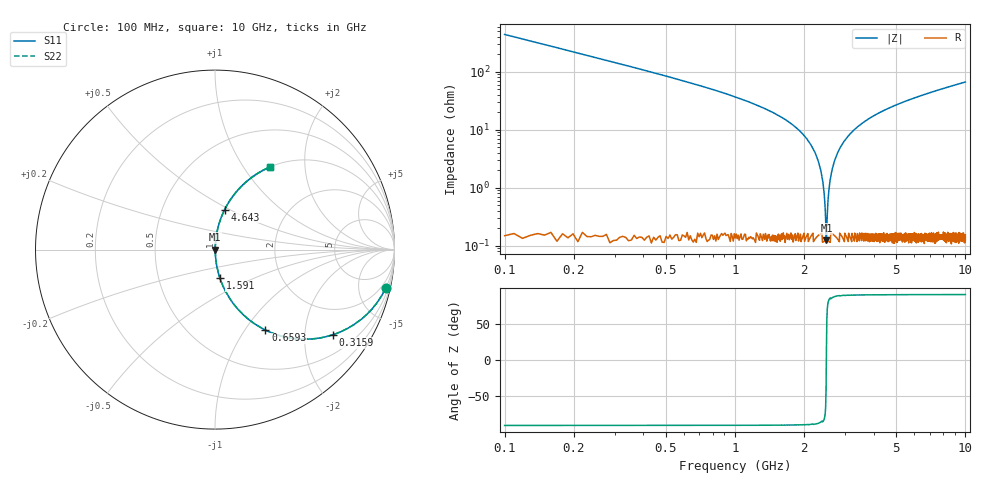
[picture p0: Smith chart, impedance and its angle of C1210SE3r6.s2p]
! AVX Thin Film Operation		Date: April 2012
! Description: Accu-P® Series, Thin Film, SMD, RF Capacitor
! Part Number: 12101J3R6ABTTR
!	100	MHz	-	10.05	GHz
!	Serial	Measurements
#	MHZ	S	MA	R	50
!	S11	S21	S12	S22
!	dB	Phase	dB	Phase	dB	Phase	dB	Phase
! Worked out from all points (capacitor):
!   1010 points, 100 MHz to 10 GHz, reference 50 ohm
!   read as one part in series: C = 3.6 pF near 149.1 MHz
!   lowest |Z| = 124 mohm at 2.494 GHz (marker M1)
!   series resonance near 2.492 GHz, so ESL is about 1.1 nH
!   S11 on the Smith chart (normalised r, x): 100 MHz: 1.01, -8.83; 315.9 MHz: 1.00, -2.76; 659.3 MHz: 1.00, -1.25; 1.591 GHz: 1.00, -0.33; 4.643 GHz: 1.00, +0.47; 10 GHz: 1.00, +1.34
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100  0.975 -12.8  0.221 77.2  0.221 77.2  0.975 -12.8
315.857  0.809 -36.0  0.587 54.0  0.587 54.0  0.809 -36.0
659.267  0.529 -58.0  0.848 31.9  0.848 31.9  0.529 -58.0
1032.111  0.334 -70.3  0.941 19.5  0.941 19.5  0.334 -70.3
1591.378  0.162 -80.2  0.985 9.3  0.985 9.3  0.162 -80.2
1758.176  0.125 -82.2  0.991 7.2  0.991 7.2  0.125 -82.2
2062.339  0.067 -85.0  0.996 3.9  0.996 3.9  0.067 -85.0
2268.385  0.033 -85.7  0.998 1.9  0.998 1.9  0.033 -85.7
2376.313  0.017 -84.3  0.998 1.0  0.998 1.0  0.017 -84.3
2454.807  0.00549 -74.9  0.999 0.3  0.999 0.3  0.00549 -74.9
2494.054  0.00143 12.8  0.999 -0.0  0.999 -0.0  0.00143 12.8
2523.489  0.00469 72.4  0.999 -0.3  0.999 -0.3  0.00469 72.4
2572.547  0.011 82.3  0.999 -0.6  0.999 -0.6  0.011 82.3
2611.794  0.017 84.2  0.998 -1.0  0.998 -1.0  0.017 84.2
2758.969  0.036 85.7  0.998 -2.1  0.998 -2.1  0.036 85.7
3004.262  0.067 85.0  0.996 -3.8  0.996 -3.8  0.067 85.0
3406.541  0.112 82.9  0.992 -6.4  0.992 -6.4  0.112 82.9
4642.815  0.229 76.4  0.972 -13.2  0.972 -13.2  0.229 76.4
5054.906  0.263 74.5  0.964 -15.2  0.964 -15.2  0.263 74.5
6703.271  0.38 67.5  0.924 -22.3  0.924 -22.3  0.38 67.5
8351.635  0.476 61.4  0.878 -28.4  0.878 -28.4  0.476 61.4
10000  0.555 56.2  0.831 -33.7  0.831 -33.7  0.555 56.2
